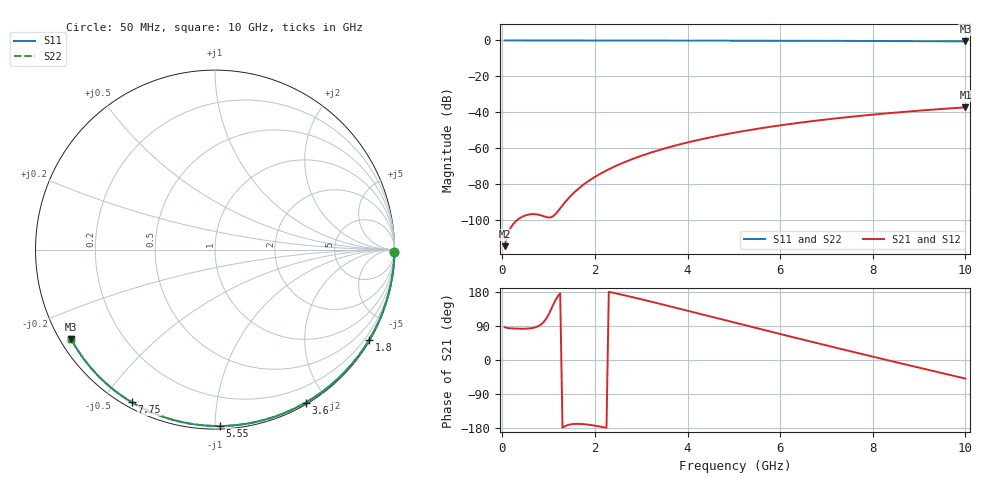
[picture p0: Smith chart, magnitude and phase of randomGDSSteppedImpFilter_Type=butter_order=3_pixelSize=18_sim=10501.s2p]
! freq	dB(S11)	phase(S11)	dB(S12)	phase(S12)
!  dB(S21)	phase(S21)	dB(S22)	phase(S22)
!S-par simulation data
#  GHz  S  DB  R 50
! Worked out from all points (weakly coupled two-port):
!   200 points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, 50 MHz to 10 GHz, reference 50 ohm
!   highest |S21| = -37.25 dB at 10 GHz (marker M1); lowest = -114.6 dB at 50 MHz (marker M2)
!   lowest |S11| = -0.5 dB at 10 GHz (marker M3), VSWR 34.69, Z = 1.56 - j14.3 ohm
!   |S11| at or under -10 dB: nowhere
!   |S22| runs from -0.5 to 0.0 dB; largest |S21 - S12| = 0
!   S11 on the Smith chart (normalised r, x): 50 MHz: open; 1.8 GHz: 0.03, -3.68; 3.6 GHz: 0.02, -1.75; 5.55 GHz: 0.02, -1.03; 7.75 GHz: 0.02, -0.59; 10 GHz: 0.03, -0.29
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0.05  -0.00 -0.9  -114.57 86.6  -114.57 86.6  -0.00 -0.9
0.45  -0.01 -7.7  -97.94 82.5  -97.94 82.5  -0.01 -7.7
0.9  -0.02 -15.4  -97.96 101.1  -97.96 101.1  -0.02 -15.4
1.3  -0.03 -22.1  -91.84 -178.7  -91.84 -178.7  -0.03 -22.1
1.75  -0.04 -29.6  -80.36 -169.2  -80.36 -169.2  -0.04 -29.6
1.8  -0.04 -30.4  -79.40 -169.8  -79.40 -169.8  -0.04 -30.4
1.95  -0.04 -32.9  -76.79 -172.3  -76.79 -172.3  -0.04 -32.9
2.1  -0.05 -35.4  -74.48 -175.3  -74.48 -175.3  -0.05 -35.4
2.3  -0.05 -38.7  -71.74 179.8  -71.74 179.8  -0.05 -38.7
2.5  -0.05 -41.9  -69.32 174.6  -69.32 174.6  -0.05 -41.9
2.9  -0.06 -48.3  -65.17 163.3  -65.17 163.3  -0.06 -48.3
3.4  -0.08 -56.2  -60.94 148.4  -60.94 148.4  -0.08 -56.2
3.6  -0.08 -59.3  -59.46 142.3  -59.46 142.3  -0.08 -59.3
4.3  -0.10 -70.0  -55.02 120.8  -55.02 120.8  -0.10 -70.0
5.05  -0.13 -81.2  -51.19 97.7  -51.19 97.7  -0.13 -81.2
5.55  -0.15 -88.4  -49.02 82.4  -49.02 82.4  -0.15 -88.4
6.1  -0.17 -96.1  -46.92 65.6  -46.92 65.6  -0.17 -96.1
6.7  -0.20 -104.4  -44.91 47.5  -44.91 47.5  -0.20 -104.4
7.75  -0.28 -118.5  -41.93 16.2  -41.93 16.2  -0.28 -118.5
8.35  -0.33 -126.5  -40.49 -1.4  -40.49 -1.4  -0.33 -126.5
9.2  -0.41 -137.6  -38.70 -26.0  -38.70 -26.0  -0.41 -137.6
10  -0.50 -148.1  -37.25 -49.0  -37.25 -49.0  -0.50 -148.1
